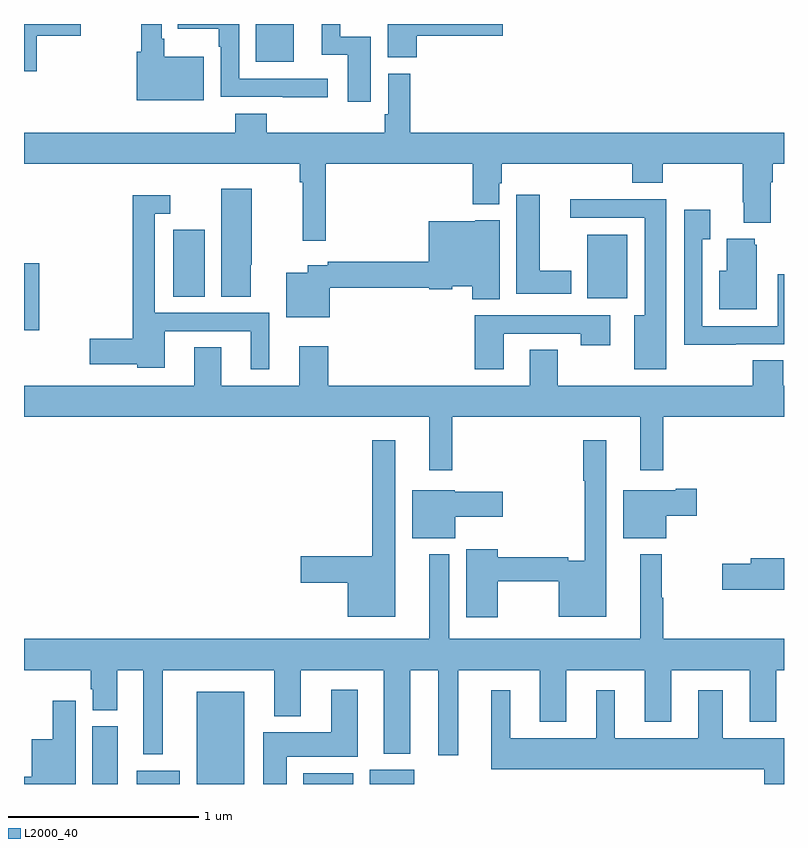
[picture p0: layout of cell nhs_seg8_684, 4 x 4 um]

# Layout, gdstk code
import gdstk
lib = gdstk.Library(unit=1e-6, precision=1e-09)
def R(c, l, rs):  # rectangles x0, y0, x1, y1
    for r in rs: c.add(gdstk.rectangle(r[:2], r[2:], *l))
def P(c, l, *ps):  # polygons
    for p in ps: c.add(gdstk.Polygon(p, *l))
L2000_40 = (2000, 40)

nhs_seg8_684 = lib.new_cell('nhs_seg8_684')
R(nhs_seg8_684, L2000_40, [(155.36,1115.9,155.494,1116.204), (155.594,1115.9,155.821,1115.971), (155.909,1115.9,156.16,1116.385), (156.47,1115.9,156.733,1115.956), (156.821,1115.9,157.054,1115.974), (155,1118.289,155.081,1118.641), (157.964,1118.456,158.176,1118.791), (155.786,1118.464,155.95,1118.818), (156.221,1119.701,156.421,1119.9)])
P(nhs_seg8_684, L2000_40, [(156.826,1119.834),(156.664,1119.834),(156.664,1119.9),(156.566,1119.9),(156.566,1119.738),(156.704,1119.738),(156.704,1119.492),(156.826,1119.492)],
  [(155.947,1119.727),(155.737,1119.727),(155.737,1119.823),(155.724,1119.823),(155.724,1119.9),(155.616,1119.9),(155.616,1119.754),(155.594,1119.754),(155.594,1119.5),(155.947,1119.5)],
  [(157.067,1119.839),(157.519,1119.839),(157.519,1119.9),(156.914,1119.9),(156.914,1119.726),(157.067,1119.726)],
  [(156.598,1119.612),(156.132,1119.612),(156.132,1119.9),(155.809,1119.9),(155.809,1119.875),(156.024,1119.875),(156.024,1119.779),(156.036,1119.779),(156.036,1119.516),(156.361,1119.516),(156.361,1119.515),(156.598,1119.515)],
  [(155.066,1119.839),(155.299,1119.839),(155.299,1119.9),(155,1119.9),(155,1119.651),(155.066,1119.651)],
  [(156.587,1119.164),(157.361,1119.164),(157.361,1118.951),(157.501,1118.951),(157.501,1119.063),(157.514,1119.063),(157.514,1119.164),(158.201,1119.164),(158.201,1119.065),(158.361,1119.065),(158.361,1119.164),(158.782,1119.164),(158.782,1118.962),(158.789,1118.962),(158.789,1118.855),(158.929,1118.855),(158.929,1119.068),(158.942,1119.068),(158.942,1119.164),(159,1119.164),(159,1119.328),(157.034,1119.328),(157.034,1119.637),(156.918,1119.637),(156.918,1119.424),(156.898,1119.424),(156.898,1119.328),(156.278,1119.328),(156.278,1119.427),(156.113,1119.427),(156.113,1119.328),(155,1119.328),(155,1119.164),(156.451,1119.164),(156.451,1119.068),(156.466,1119.068),(156.466,1118.76),(156.587,1118.76)],
  [(156.193,1118.634),(156.199,1118.634),(156.199,1119.034),(156.038,1119.034),(156.038,1118.464),(156.193,1118.464)],
  [(157.879,1118.602),(157.714,1118.602),(157.714,1119.001),(157.592,1119.001),(157.592,1118.48),(157.879,1118.48)],
  [(156.292,1118.379),(155.688,1118.379),(155.688,1118.901),(155.77,1118.901),(155.77,1118.998),(155.572,1118.998),(155.572,1118.243),(155.346,1118.243),(155.346,1118.108),(155.595,1118.108),(155.595,1118.09),(155.74,1118.09),(155.74,1118.283),(156.194,1118.283),(156.194,1118.082),(156.292,1118.082)],
  [(158.38,1118.978),(157.875,1118.978),(157.875,1118.88),(158.267,1118.88),(158.267,1118.368),(158.213,1118.368),(158.213,1118.082),(158.38,1118.082)],
  [(158.747,1118.214),(159,1118.214),(159,1118.584),(158.967,1118.584),(158.967,1118.31),(158.571,1118.31),(158.571,1118.767),(158.611,1118.767),(158.611,1118.923),(158.475,1118.923),(158.475,1118.213),(158.747,1118.213)],
  [(156.61,1118.512),(157.134,1118.512),(157.134,1118.504),(157.254,1118.504),(157.254,1118.519),(157.358,1118.519),(157.358,1118.452),(157.504,1118.452),(157.504,1118.866),(157.374,1118.866),(157.374,1118.863),(157.13,1118.863),(157.13,1118.648),(156.598,1118.648),(156.598,1118.629),(156.494,1118.629),(156.494,1118.59),(156.38,1118.59),(156.38,1118.357),(156.61,1118.357)],
  [(158.857,1118.739),(158.846,1118.739),(158.846,1118.77),(158.699,1118.77),(158.699,1118.602),(158.66,1118.602),(158.66,1118.399),(158.857,1118.399)],
  [(157.525,1118.271),(157.93,1118.271),(157.93,1118.208),(158.086,1118.208),(158.086,1118.367),(157.373,1118.367),(157.373,1118.082),(157.525,1118.082)],
  [(157.255,1117.832),(158.243,1117.832),(158.243,1117.551),(158.365,1117.551),(158.365,1117.832),(159,1117.832),(159,1117.996),(158.996,1117.996),(158.996,1118.129),(158.836,1118.129),(158.836,1117.996),(157.809,1117.996),(157.809,1118.186),(157.661,1118.186),(157.661,1117.996),(156.602,1117.996),(156.602,1118.203),(156.449,1118.203),(156.449,1117.996),(156.037,1117.996),(156.037,1118.198),(155.897,1118.198),(155.897,1117.996),(155,1117.996),(155,1117.832),(157.133,1117.832),(157.133,1117.551),(157.255,1117.551)],
  [(156.955,1117.708),(156.834,1117.708),(156.834,1117.1),(156.456,1117.1),(156.456,1116.958),(156.704,1116.958),(156.704,1116.779),(156.955,1116.779)],
  [(157.494,1116.966),(157.814,1116.966),(157.814,1116.779),(158.065,1116.779),(158.065,1117.708),(157.944,1117.708),(157.944,1117.495),(157.951,1117.495),(157.951,1117.074),(157.865,1117.074),(157.865,1117.094),(157.494,1117.094),(157.494,1117.136),(157.328,1117.136),(157.328,1116.777),(157.494,1116.777)],
  [(158.38,1117.313),(158.542,1117.313),(158.542,1117.455),(158.429,1117.455),(158.429,1117.447),(158.153,1117.447),(158.153,1117.193),(158.38,1117.193)],
  [(157.27,1117.307),(157.519,1117.307),(157.519,1117.437),(157.266,1117.437),(157.266,1117.447),(157.043,1117.447),(157.043,1117.193),(157.27,1117.193)],
  [(157.285,1116.5),(157.715,1116.5),(157.715,1116.227),(157.855,1116.227),(157.855,1116.5),(158.267,1116.5),(158.267,1116.227),(158.407,1116.227),(158.407,1116.5),(158.819,1116.5),(158.819,1116.227),(158.959,1116.227),(158.959,1116.5),(159,1116.5),(159,1116.664),(158.365,1116.664),(158.365,1116.881),(158.357,1116.881),(158.357,1117.108),(158.243,1117.108),(158.243,1116.664),(157.237,1116.664),(157.237,1117.108),(157.133,1117.108),(157.133,1116.664),(155,1116.664),(155,1116.5),(155.351,1116.5),(155.351,1116.399),(155.363,1116.399),(155.363,1116.289),(155.491,1116.289),(155.491,1116.5),(155.627,1116.5),(155.627,1116.056),(155.731,1116.056),(155.731,1116.5),(156.317,1116.5),(156.317,1116.257),(156.457,1116.257),(156.457,1116.5),(156.893,1116.5),(156.893,1116.059),(157.033,1116.059),(157.033,1116.5),(157.181,1116.5),(157.181,1116.051),(157.285,1116.051)],
  [(159,1117.088),(158.825,1117.088),(158.825,1117.058),(158.676,1117.058),(158.676,1116.923),(159,1116.923)],
  [(156.382,1116.044),(156.757,1116.044),(156.757,1116.397),(156.617,1116.397),(156.617,1116.172),(156.26,1116.172),(156.26,1115.9),(156.382,1115.9)],
  [(159,1116.142),(158.677,1116.142),(158.677,1116.394),(158.549,1116.394),(158.549,1116.142),(158.11,1116.142),(158.11,1116.394),(158.012,1116.394),(158.012,1116.142),(157.558,1116.142),(157.558,1116.394),(157.46,1116.394),(157.46,1115.978),(158.897,1115.978),(158.897,1115.9),(159,1115.9)],
  [(155.272,1116.337),(155.15,1116.337),(155.15,1116.136),(155.042,1116.136),(155.042,1115.938),(155,1115.938),(155,1115.9),(155.272,1115.9)])

lib.write_gds('nhs_seg8_684.gds')
